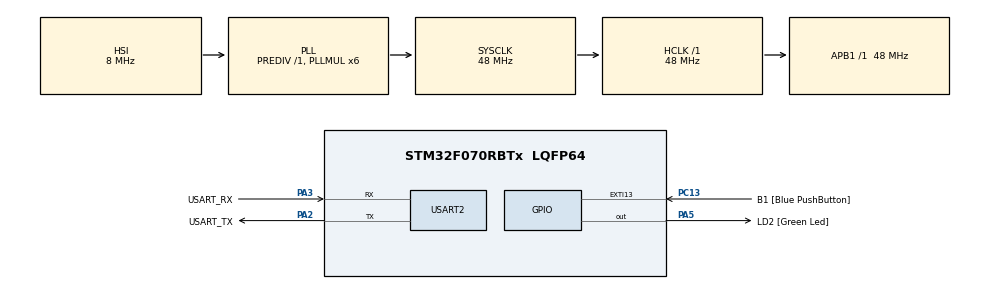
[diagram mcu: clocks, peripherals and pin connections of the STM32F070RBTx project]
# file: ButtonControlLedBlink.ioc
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Mcu.Family=STM32F0
Mcu.Name=STM32F070RBTx
Mcu.Package=LQFP64
PA13.GPIO_Label=TMS
PA13.Mode=Serial_Wire
PA13.Signal=SYS_SWDIO
PA14.GPIO_Label=TCK
PA14.Mode=Serial_Wire
PA14.Signal=SYS_SWCLK
PA2.GPIO_Label=USART_TX
PA2.Mode=Asynchronous
PA2.Signal=USART2_TX
PA3.GPIO_Label=USART_RX
PA3.Mode=Asynchronous
PA3.Signal=USART2_RX
PA5.GPIO_Label=LD2 [Green Led]
PA5.Signal=GPIO_Output
PC13.GPIO_Label=B1 [Blue PushButton]
PC13.GPIO_ModeDefaultEXTI=GPIO_MODE_IT_FALLING
PC13.Signal=GPXTI13
PC14-OSC32_IN.GPIO_Label=RCC_OSC32_IN
PC14-OSC32_IN.Mode=LSE-External-Oscillator
PC14-OSC32_IN.Signal=RCC_OSC32_IN
PC15-OSC32_OUT.GPIO_Label=RCC_OSC32_OUT
PC15-OSC32_OUT.Mode=LSE-External-Oscillator
PC15-OSC32_OUT.Signal=RCC_OSC32_OUT
PF0-OSC_IN.GPIO_Label=RCC_OSC_IN
PF0-OSC_IN.Mode=HSE-External-Clock-Source
PF0-OSC_IN.Signal=RCC_OSC_IN
PF1-OSC_OUT.GPIO_Label=RCC_OSC_OUT
PF1-OSC_OUT.Signal=RCC_OSC_OUT
ProjectManager.HeapSize=0x200
ProjectManager.StackSize=0x400
ProjectManager.TargetToolchain=STM32CubeIDE
RCC.AHBFreq_Value=48000000
RCC.APB1Freq_Value=48000000
RCC.APB1TimFreq_Value=48000000
RCC.HCLKFreq_Value=48000000
RCC.PLLMUL=RCC_PLL_MUL6
RCC.SYSCLKFreq_VALUE=48000000
RCC.SYSCLKSource=RCC_SYSCLKSOURCE_PLLCLK
USART2.VirtualMode-Asynchronous=VM_ASYNC
board=NUCLEO-F070RB

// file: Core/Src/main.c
/* USER CODE BEGIN Header */
/**
  ******************************************************************************
  * @file           : main.c
  * @brief          : Main program body
  ******************************************************************************
  * @attention
  *
  * <h2><center>&copy; Copyright (c) 2021 STMicroelectronics.
  * All rights reserved.</center></h2>
  *
  * This software component is licensed by ST under BSD 3-Clause license,
  * the "License"; You may not use this file except in compliance with the
  * License. You may obtain a copy of the License at:
  *                        opensource.org/licenses/BSD-3-Clause
  *
  ******************************************************************************
  */
/* USER CODE END Header */
#include "main.h"

UART_HandleTypeDef huart2;

void SystemClock_Config(void);
static void MX_GPIO_Init(void);
static void MX_USART2_UART_Init(void);

/* USER CODE BEGIN 0 */
void GPIO_Config(){

	RCC->AHBENR = 0x000A0000;

	GPIOA->MODER = 0x00000400;
	GPIOA->OTYPER = 0x00000000;
	GPIOA->PUPDR = 0x00000000;
	GPIOA->OSPEEDR = 0x00000400;

	GPIOC->MODER = 0x00000000;
	GPIOC->OTYPER = 0x00000000;
	GPIOC->PUPDR = 0x08000000;
	GPIOC->OSPEEDR = 0x04000000;
}
/* USER CODE END 0 */

int main(void)
{

  /* MCU Configuration--------------------------------------------------------*/

  /* Reset of all peripherals, Initializes the Flash interface and the Systick. */
  HAL_Init();

  /* Configure the system clock */
  SystemClock_Config();

  /* Initialize all configured peripherals */
  MX_GPIO_Init();
  MX_USART2_UART_Init();
  /* USER CODE BEGIN 2 */
  GPIO_Config();
  /* USER CODE END 2 */

  /* Infinite loop */
  /* USER CODE BEGIN WHILE */
  while (1)
  {
	  if(!(GPIOC->IDR & 0x00002000))
		  GPIOA->ODR = 0x00000020;
	  else if(GPIOC->IDR & 0x00002000)
		  GPIOA->ODR = 0x00000000;
    /* USER CODE END WHILE */

  }
}

void SystemClock_Config(void)
{
  RCC_OscInitTypeDef RCC_OscInitStruct = {0};
  RCC_ClkInitTypeDef RCC_ClkInitStruct = {0};

  /** Initializes the RCC Oscillators according to the specified parameters
  * in the RCC_OscInitTypeDef structure.
  */
  RCC_OscInitStruct.OscillatorType = RCC_OSCILLATORTYPE_HSI;
  RCC_OscInitStruct.HSIState = RCC_HSI_ON;
  RCC_OscInitStruct.HSICalibrationValue = RCC_HSICALIBRATION_DEFAULT;
  RCC_OscInitStruct.PLL.PLLState = RCC_PLL_ON;
  RCC_OscInitStruct.PLL.PLLSource = RCC_PLLSOURCE_HSI;
  RCC_OscInitStruct.PLL.PLLMUL = RCC_PLL_MUL6;
  RCC_OscInitStruct.PLL.PREDIV = RCC_PREDIV_DIV1;
  if (HAL_RCC_OscConfig(&RCC_OscInitStruct) != HAL_OK)
  {
    Error_Handler();
  }
  /** Initializes the CPU, AHB and APB buses clocks
  */
  RCC_ClkInitStruct.ClockType = RCC_CLOCKTYPE_HCLK|RCC_CLOCKTYPE_SYSCLK
                              |RCC_CLOCKTYPE_PCLK1;
  RCC_ClkInitStruct.SYSCLKSource = RCC_SYSCLKSOURCE_PLLCLK;
  RCC_ClkInitStruct.AHBCLKDivider = RCC_SYSCLK_DIV1;
  RCC_ClkInitStruct.APB1CLKDivider = RCC_HCLK_DIV1;

  if (HAL_RCC_ClockConfig(&RCC_ClkInitStruct, FLASH_LATENCY_1) != HAL_OK)
  {
    Error_Handler();
  }
}

static void MX_USART2_UART_Init(void)
{

  huart2.Instance = USART2;
  huart2.Init.BaudRate = 38400;
  huart2.Init.WordLength = UART_WORDLENGTH_8B;
  huart2.Init.StopBits = UART_STOPBITS_1;
  huart2.Init.Parity = UART_PARITY_NONE;
  huart2.Init.Mode = UART_MODE_TX_RX;
  huart2.Init.HwFlowCtl = UART_HWCONTROL_NONE;
  huart2.Init.OverSampling = UART_OVERSAMPLING_16;
  huart2.Init.OneBitSampling = UART_ONE_BIT_SAMPLE_DISABLE;
  huart2.AdvancedInit.AdvFeatureInit = UART_ADVFEATURE_NO_INIT;
  if (HAL_UART_Init(&huart2) != HAL_OK)
  {
    Error_Handler();
  }

}

static void MX_GPIO_Init(void)
{
  GPIO_InitTypeDef GPIO_InitStruct = {0};

  /* GPIO Ports Clock Enable */
  __HAL_RCC_GPIOC_CLK_ENABLE();
  __HAL_RCC_GPIOF_CLK_ENABLE();
  __HAL_RCC_GPIOA_CLK_ENABLE();

  /*Configure GPIO pin Output Level */
  HAL_GPIO_WritePin(LD2_GPIO_Port, LD2_Pin, GPIO_PIN_RESET);

  /*Configure GPIO pin : B1_Pin */
  GPIO_InitStruct.Pin = B1_Pin;
  GPIO_InitStruct.Mode = GPIO_MODE_IT_FALLING;
  GPIO_InitStruct.Pull = GPIO_NOPULL;
  HAL_GPIO_Init(B1_GPIO_Port, &GPIO_InitStruct);

  /*Configure GPIO pin : LD2_Pin */
  GPIO_InitStruct.Pin = LD2_Pin;
  GPIO_InitStruct.Mode = GPIO_MODE_OUTPUT_PP;
  GPIO_InitStruct.Pull = GPIO_NOPULL;
  GPIO_InitStruct.Speed = GPIO_SPEED_FREQ_LOW;
  HAL_GPIO_Init(LD2_GPIO_Port, &GPIO_InitStruct);

}

void Error_Handler(void)
{
  __disable_irq();
  while (1)
  {
  }
}

/************************ (C) COPYRIGHT STMicroelectronics *****END OF FILE****/
